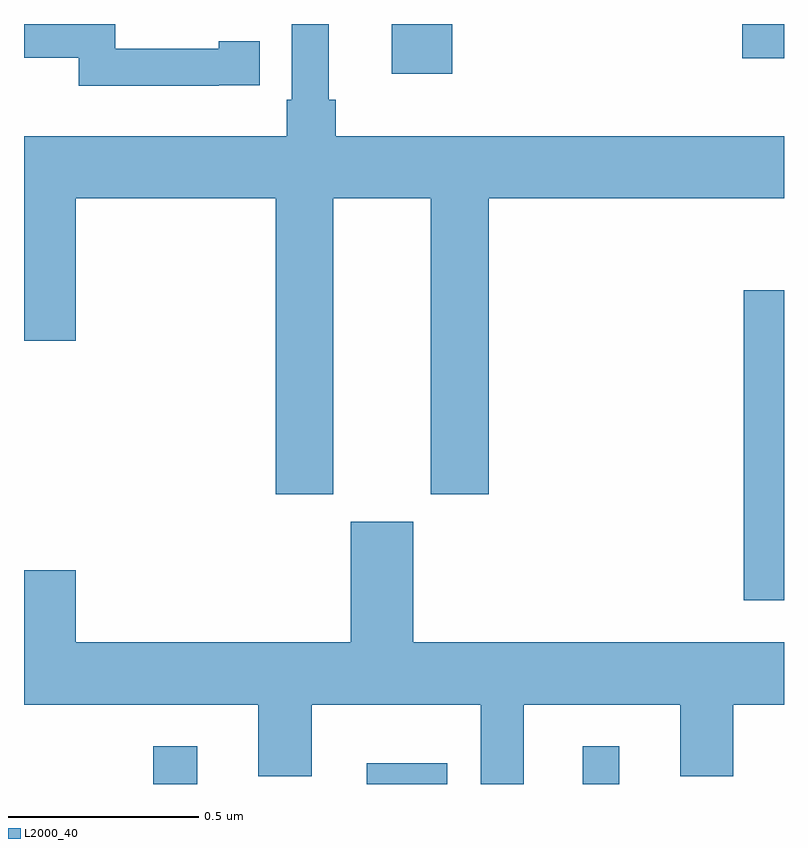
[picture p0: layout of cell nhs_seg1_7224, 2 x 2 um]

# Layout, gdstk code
import gdstk
lib = gdstk.Library(unit=1e-6, precision=1e-09)
def R(c, l, rs):  # rectangles x0, y0, x1, y1
    for r in rs: c.add(gdstk.rectangle(r[:2], r[2:], *l))
def P(c, l, *ps):  # polygons
    for p in ps: c.add(gdstk.Polygon(p, *l))
L2000_40 = (2000, 40)

nhs_seg1_7224 = lib.new_cell('nhs_seg1_7224')
R(nhs_seg1_7224, L2000_40, [(201.34,542.199,201.456,542.299), (201.902,542.199,202.114,542.254), (202.47,542.199,202.566,542.299), (202.894,542.682,203,543.499), (201.968,544.068,202.127,544.199), (202.89,544.109,203,544.199)])
P(nhs_seg1_7224, L2000_40, [(201.814,543.74),(202.07,543.74),(202.07,542.961),(202.223,542.961),(202.223,543.74),(203,543.74),(203,543.904),(201.821,543.904),(201.821,544),(201.802,544),(201.802,544.199),(201.705,544.199),(201.705,544),(201.692,544),(201.692,543.904),(201,543.904),(201,543.366),(201.136,543.366),(201.136,543.74),(201.662,543.74),(201.662,542.961),(201.814,542.961)],
  [(201.512,544.038),(201.62,544.038),(201.62,544.154),(201.512,544.154),(201.512,544.134),(201.24,544.134),(201.24,544.199),(201,544.199),(201,544.11),(201.144,544.11),(201.144,544.037),(201.512,544.037)],
  [(202.315,542.408),(202.727,542.408),(202.727,542.219),(202.867,542.219),(202.867,542.408),(203,542.408),(203,542.572),(202.024,542.572),(202.024,542.889),(201.86,542.889),(201.86,542.572),(201.136,542.572),(201.136,542.761),(201,542.761),(201,542.408),(201.617,542.408),(201.617,542.219),(201.757,542.219),(201.757,542.408),(202.202,542.408),(202.202,542.199),(202.315,542.199)])

lib.write_gds('nhs_seg1_7224.gds')
